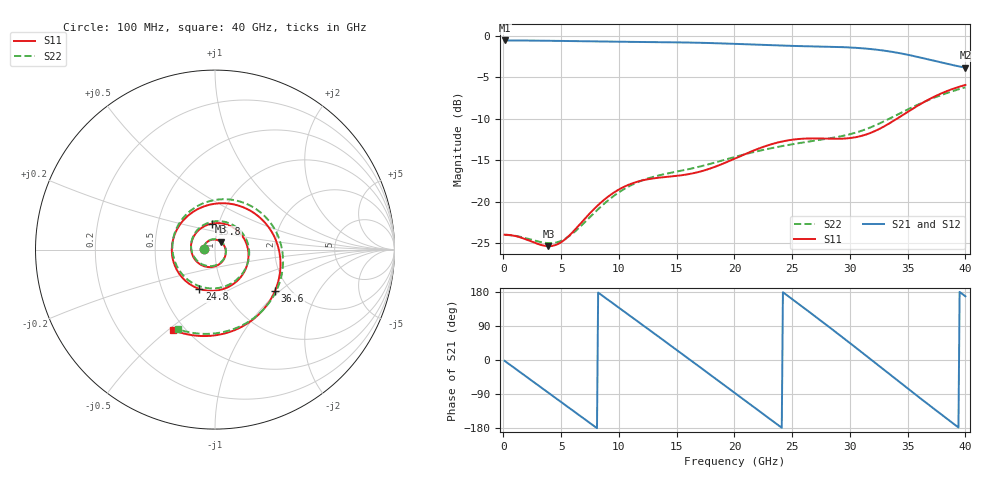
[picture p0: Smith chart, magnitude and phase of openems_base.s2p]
! A_s4_d200_ap800: L1→L4 through L2/L3, drill Ø0.2, antipad Ø0.8, 4 GND vias at 1 mm
! stackup: 4-layer 1.6 mm FR-4
! ports: 1, 2
! openEMS 0.37.0, staircase, base mesh (dfine 0.035 mm), 519453 cells
# Hz S RI R 50
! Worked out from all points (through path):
!   400 points, 100 MHz to 40 GHz, reference 50 ohm
!   highest |S21| = -0.57 dB at 100 MHz (marker M1); lowest = -3.8 dB at 40 GHz (marker M2)
!   group delay of S21, straight-line fit = 63.2 ps
!   lowest |S11| = -25.3 dB at 3.9 GHz (marker M3), VSWR 1.11, Z = 53.1 + j4.63 ohm
!   |S11| at or under -10 dB: start of sweep to 34.06 GHz
!   |S22| runs from -25.0 to -6.2 dB; largest |S21 - S12| = 0.014
!   S11 on the Smith chart (normalised r, x): 100 MHz: 0.88, +0.01; 15.8 GHz: 0.93, +0.28; 24.8 GHz: 0.77, -0.36; 36.6 GHz: 1.69, -0.92; 40 GHz: 0.43, -0.52
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1e8  -0.0634 0.00316  0.9356 -0.0364  0.9356 -0.0364  -0.0632 0.00322
1.8e9  -0.0361 0.048  0.7161 -0.6016  0.716 -0.6016  -0.0359 0.0491
3.9e9  0.0323 0.0435  0.0535 -0.9308  0.0536 -0.9308  0.0324 0.0462
5.3e9  0.0593 -0.00159  -0.4334 -0.8223  -0.4334 -0.8225  0.0597 0.00234
6.8e9  0.0444 -0.0614  -0.8105 -0.448  -0.8108 -0.4484  0.0455 -0.0566
9.5e9  -0.0702 -0.0887  -0.7896 0.4729  -0.7901 0.4738  -0.0685 -0.0834
1.15e10  -0.1311 -0.0123  -0.2322 0.8875  -0.2315 0.8884  -0.1302 -0.00665
1.34e10  -0.1142 0.0805  0.4253 0.81  0.4262 0.8097  -0.1145 0.0875
1.58e10  -0.0147 0.1452  0.9003 0.1346  0.9001 0.1344  -0.0162 0.1553
1.77e10  0.0878 0.1302  0.7471 -0.5093  0.7476 -0.5087  0.0865 0.1439
2.01e10  0.183 0.00558  0.0239 -0.8923  0.0259 -0.894  0.1854 0.024
2.27e10  0.1061 -0.189  -0.7379 -0.4759  -0.7413 -0.4794  0.1154 -0.1719
2.48e10  -0.0872 -0.2188  -0.8403 0.221  -0.8455 0.2239  -0.0776 -0.2069
2.67e10  -0.2226 -0.0924  -0.4555 0.7335  -0.4547 0.7393  -0.2171 -0.0825
2.86e10  -0.2216 0.0916  0.182 0.8379  0.1864 0.839  -0.2209 0.1028
3.06e10  -0.0878 0.2296  0.7276 0.4291  0.7286 0.4273  -0.0917 0.2458
3.2e10  0.0542 0.2581  0.8275 -0.0424  0.8271 -0.0421  0.0483 0.2807
3.34e10  0.2109 0.2081  0.6462 -0.4796  0.6485 -0.4775  0.2065 0.2396
3.5e10  0.3464 0.0326  0.1993 -0.7418  0.2057 -0.744  0.3521 0.0737
3.66e10  0.3352 -0.228  -0.282 -0.6681  -0.2804 -0.6781  0.3583 -0.1882
3.83e10  0.1115 -0.4477  -0.6036 -0.3136  -0.6142 -0.3206  0.1448 -0.4253
4e10  -0.2331 -0.4483  -0.6282 0.1327  -0.6398 0.1401  -0.2087 -0.4426
